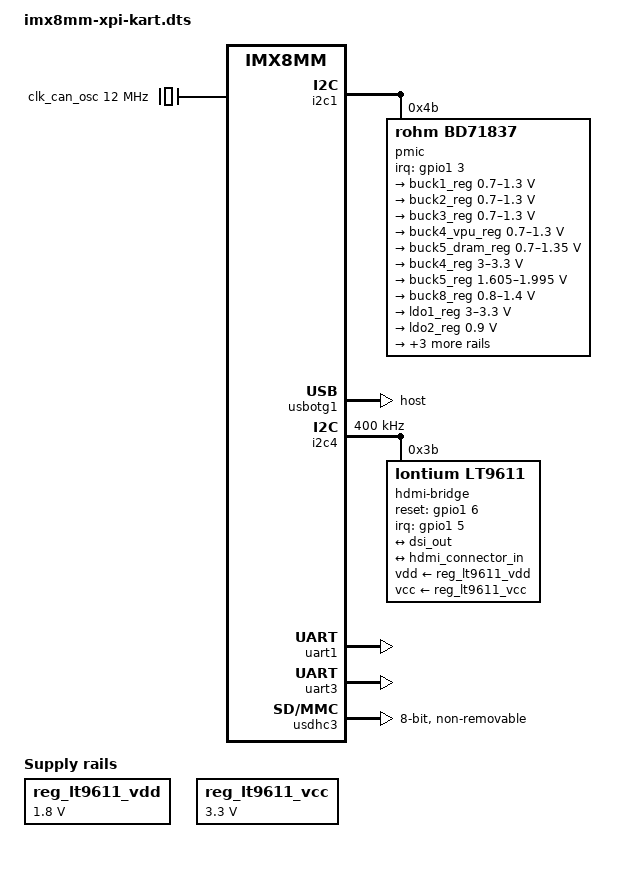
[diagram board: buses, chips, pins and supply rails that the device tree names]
// SPDX-License-Identifier: (GPL-2.0+ OR MIT)
/*
 * imx8mm-xpi-kart.dts — Geniatech XPI-iMX8MM 用 kart 製品 DT
 *
 * 根拠は全て実機/実物から採取済み:
 *  - ベンダ実行中 DT (/sys/firmware/fdt, local/vendor-dtbs/running.dts)
 *  - ベンダ 4.14 カーネルの起動ログ (lt9611: irq_gpio=5 reset_gpio=6)
 *  - HW UserGuide の 40 ピン表 (ECSPI2 = pin19-24, RPi GPIO25 相当 = PDM_DATA3)
 *
 * EVK との差分:
 *  - 表示: ADV7535 (EVK アダプタ) ではなく Lontium LT9611 (I2C4 @0x3b)。
 *    mainline の lontium,lt9611 ドライバ用に binding を書き直して移植
 *    (ベンダは独自 lt,lt9611 ドライバ)。EVK の adv7535 ノードは削除し、
 *    hdmi-connector と dsi_out を LT9611 に繋ぎ替える
 *  - CAN INT: RPi GPIO25 相当 (物理 pin22) = SAI5_RXD3 パッド = GPIO3_IO24
 *    (EVK 足場の GPIO1_IO08 は XPI では 40 ピンに出ていない)
 *  - ECSPI2 の conf 値はベンダ実績値 (SCLK/MOSI/MISO=0x140)
 *  - eMMC (usdhc3): EVK 足場と同じ NXP 由来ノード (ベンダ DT にも同構成を確認)
 *  - Ethernet PHY リセット: XPI は SAI1_RXC → GPIO4_IO1 (EVK の SAI2_RXC →
 *    GPIO4_IO22 は XPI では未配線。ベンダ BSP 監査 07 §3 で確認)
 *  - usbotg2: 実機 DTB は OTG1/OTG2 とも host で有効 (mainline evk dtsi には
 *    otg2 ノード自体が無い)。07 §3 で確認
 */

#include "imx8mm-evk.dts"
#include <dt-bindings/interrupt-controller/irq.h>

/ {
	clk_can_osc: clock-can-osc {
		compatible = "fixed-clock";
		#clock-cells = <0>;
		clock-frequency = <12000000>;
		clock-output-names = "can_osc";
	};

	reg_lt9611_vdd: regulator-lt9611-vdd {
		compatible = "regulator-fixed";
		regulator-name = "lt9611-vdd";
		regulator-min-microvolt = <1800000>;
		regulator-max-microvolt = <1800000>;
		regulator-always-on;
	};

	reg_lt9611_vcc: regulator-lt9611-vcc {
		compatible = "regulator-fixed";
		regulator-name = "lt9611-vcc";
		regulator-min-microvolt = <3300000>;
		regulator-max-microvolt = <3300000>;
		regulator-always-on;
	};
};

/* EVK の ADV7535 (アダプタカード) は XPI に存在しない。
 * なおベンダ DT はこのバスの 0x69 に AM1805 RTC を宣言しているが、
 * 実機検証でチップ無応答 = 未実装と判断し、ノード/ドライバとも入れない
 * (経緯と再有効化手順は docs/imx8mm-xpi-bringup/07-vendor-bsp-audit.md §3-3) */
&i2c2 {
	/delete-node/ hdmi@3d;
};

/*
 * PMIC は実チップが ROHM BD71837 (8 buck。ベンダ DT・実機 DTB で確認)。
 * EVK dtsi は後期 EVK の BD71847 (6 buck) として登録しており、GPU/VPU レール
 * (buck3/4) が見えず buck5 以降のレジスタマップもズレる (07 §3-4)。
 * ノードを丸ごと差し替え、電圧枠はベンダ DT の実績値を使う。
 *
 * ベンダとの意図的な差分: buck3 (VDD_GPU) / buck4 (VDD_VPU) を always-on に
 * する。mainline にはこれらを consumer として掴むドライバが居ないため
 * (etnaviv は GPC power-domain 管理で PMIC を知らない)、素のままだと
 * regulator core の「未使用レギュレータ自動停止」(起動 30s 後) が
 * GPU レールを落として weston が死ぬ。
 *
 * ラベルの継承: buck2_reg は cpu-supply (cpufreq DVS) が参照。
 * buck4_reg/buck5_reg は evk.dtsi の i2c3 配下 (XPI では disabled) が参照する
 * ため、電圧対応する BUCK6 (3.3V)/BUCK7 (1.8V) に旧名ラベルを併記して
 * phandle 解決だけ維持する。
 */
&i2c1 {
	/delete-node/ pmic@4b;

	pmic@4b {
		compatible = "rohm,bd71837";
		reg = <0x4b>;
		pinctrl-names = "default";
		pinctrl-0 = <&pinctrl_pmic>;
		interrupt-parent = <&gpio1>;
		interrupts = <3 IRQ_TYPE_LEVEL_LOW>;
		rohm,reset-snvs-powered;
		#clock-cells = <0>;
		clocks = <&osc_32k>;
		clock-output-names = "clk-32k-out";

		regulators {
			buck1_reg: BUCK1 {
				/* VDD_SOC */
				regulator-name = "buck1";
				regulator-min-microvolt = <700000>;
				regulator-max-microvolt = <1300000>;
				regulator-boot-on;
				regulator-always-on;
				regulator-ramp-delay = <1250>;
			};

			buck2_reg: BUCK2 {
				/* VDD_ARM — cpufreq DVS (run 1.0V / idle 0.9V、ベンダ実績値) */
				regulator-name = "buck2";
				regulator-min-microvolt = <700000>;
				regulator-max-microvolt = <1300000>;
				regulator-boot-on;
				regulator-always-on;
				regulator-ramp-delay = <1250>;
				rohm,dvs-run-voltage = <1000000>;
				rohm,dvs-idle-voltage = <900000>;
			};

			buck3_reg: BUCK3 {
				/* VDD_GPU — always-on は意図的 (冒頭コメント) */
				regulator-name = "buck3";
				regulator-min-microvolt = <700000>;
				regulator-max-microvolt = <1300000>;
				regulator-boot-on;
				regulator-always-on;
			};

			buck4_vpu_reg: BUCK4 {
				/* VDD_VPU — 同上 (VPU 未使用だが安全側) */
				regulator-name = "buck4";
				regulator-min-microvolt = <700000>;
				regulator-max-microvolt = <1300000>;
				regulator-boot-on;
				regulator-always-on;
			};

			buck5_dram_reg: BUCK5 {
				/* VDD_DRAM */
				regulator-name = "buck5";
				regulator-min-microvolt = <700000>;
				regulator-max-microvolt = <1350000>;
				regulator-boot-on;
				regulator-always-on;
			};

			buck4_reg: buck6_reg: BUCK6 {
				/* 3.3V 系 (旧 bd71847 名 buck4 — ラベル併記は冒頭コメント) */
				regulator-name = "buck6";
				regulator-min-microvolt = <3000000>;
				regulator-max-microvolt = <3300000>;
				regulator-boot-on;
				regulator-always-on;
			};

			buck5_reg: buck7_reg: BUCK7 {
				/* 1.8V 系 (旧 bd71847 名 buck5) */
				regulator-name = "buck7";
				regulator-min-microvolt = <1605000>;
				regulator-max-microvolt = <1995000>;
				regulator-boot-on;
				regulator-always-on;
			};

			buck8_reg: BUCK8 {
				regulator-name = "buck8";
				regulator-min-microvolt = <800000>;
				regulator-max-microvolt = <1400000>;
				regulator-boot-on;
				regulator-always-on;
			};

			ldo1_reg: LDO1 {
				/* ベンダ実績 3.0-3.3V (bd71847-EVK の 1.6V 枠とは異なる) */
				regulator-name = "ldo1";
				regulator-min-microvolt = <3000000>;
				regulator-max-microvolt = <3300000>;
				regulator-boot-on;
				regulator-always-on;
			};

			ldo2_reg: LDO2 {
				regulator-name = "ldo2";
				regulator-min-microvolt = <900000>;
				regulator-max-microvolt = <900000>;
				regulator-boot-on;
				regulator-always-on;
			};

			ldo3_reg: LDO3 {
				regulator-name = "ldo3";
				regulator-min-microvolt = <1800000>;
				regulator-max-microvolt = <3300000>;
				regulator-boot-on;
				regulator-always-on;
			};

			ldo4_reg: LDO4 {
				regulator-name = "ldo4";
				regulator-min-microvolt = <900000>;
				regulator-max-microvolt = <1800000>;
				regulator-boot-on;
				regulator-always-on;
			};

			ldo6_reg: LDO6 {
				regulator-name = "ldo6";
				regulator-min-microvolt = <900000>;
				regulator-max-microvolt = <1800000>;
				regulator-boot-on;
				regulator-always-on;
			};
			/* LDO5/LDO7 はベンダ DT でも未定義 (未使用レール) */
		};
	};
};

/*
 * ===== EVK 残骸の無効化 =====
 * XPI に存在しない EVK 周辺を全て落とす。pinctrl+GPIO が生きていると
 * これらのノードは実際に XPI の足を掴んで駆動してしまう
 * (特に reg_pcie0 は GPIO1_IO05 = XPI の LT9611 IRQ 線を Low に初期化する)。
 * phandle グラフに絡むノードは status="disabled" (参照切れコンパイルエラー
 * 回避)、絡まないノードは /delete-node/。
 */

/* PCIe: XPI に引き出されていない */
&pcie0 {
	status = "disabled";
};
&pcie_phy {
	status = "disabled";
};
/* MPCIE_3V3: gpio1 5 (XPI では LT9611 IRQ) を regulator init が Low に叩く */
&reg_pcie0 {
	status = "disabled";
};

/* USB-C PD (ptn5110) は EVK アダプタの物。XPI はベンダ DT 通り素の host */
&ptn5110 {
	status = "disabled";
};
&usbotg1 {
	dr_mode = "host";
	/* role switch は ptn5110 前提。残すと usbotg1 が永久 deferred になる */
	/delete-property/ usb-role-switch;
};

/* 2 系統目の USB (usbotg2)。実機調査 (07 §3) の結末:
 * 配下は GL850 ハブ + Marvell 88W8897 WiFi/BT メザニン (port4 固定) のみで、
 * port1-3 は未接続 = 外部ポートは存在しない。カートは WiFi/BT 不使用のため
 * 意図的に disabled (SoC dtsi のデフォルトと同じだが、経緯ごと明示する)。
 * モジュールの物理撤去は親基板パターン損傷リスクが高いためしない。
 * WiFi を使う日が来たら host で有効化 + mwifiex_usb を焚く */
&usbotg2 {
	status = "disabled";
};

/* Ethernet PHY (AR803x) のリセット線。EVK dtsi は SAI2_RXC → GPIO4_IO22 を
 * 指すが、XPI のリセット実配線は SAI1_RXC → GPIO4_IO1 (ベンダ fec1grp が
 * SAI2_RXC を外して SAI1_RXC を mux、実機 DTB でも確認。07 §3)。
 * GPIO4_IO22 は XPI では未配線パッドの空撃ちで、PHY リセットが効いていなかった */
&ethphy0 {
	reset-gpios = <&gpio4 1 GPIO_ACTIVE_LOW>;
};

/* fec1grp を丸ごと差し替え (pinctrl グループは fsl,pins の全置換でしか
 * 編集できない)。最終行以外は EVK dtsi と同一 */
&pinctrl_fec1 {
	fsl,pins = <
		MX8MM_IOMUXC_ENET_MDC_ENET1_MDC			0x3
		MX8MM_IOMUXC_ENET_MDIO_ENET1_MDIO		0x3
		MX8MM_IOMUXC_ENET_TD3_ENET1_RGMII_TD3		0x1f
		MX8MM_IOMUXC_ENET_TD2_ENET1_RGMII_TD2		0x1f
		MX8MM_IOMUXC_ENET_TD1_ENET1_RGMII_TD1		0x1f
		MX8MM_IOMUXC_ENET_TD0_ENET1_RGMII_TD0		0x1f
		MX8MM_IOMUXC_ENET_RD3_ENET1_RGMII_RD3		0x91
		MX8MM_IOMUXC_ENET_RD2_ENET1_RGMII_RD2		0x91
		MX8MM_IOMUXC_ENET_RD1_ENET1_RGMII_RD1		0x91
		MX8MM_IOMUXC_ENET_RD0_ENET1_RGMII_RD0		0x91
		MX8MM_IOMUXC_ENET_TXC_ENET1_RGMII_TXC		0x1f
		MX8MM_IOMUXC_ENET_RXC_ENET1_RGMII_RXC		0x91
		MX8MM_IOMUXC_ENET_RX_CTL_ENET1_RGMII_RX_CTL	0x91
		MX8MM_IOMUXC_ENET_TX_CTL_ENET1_RGMII_TX_CTL	0x1f
		MX8MM_IOMUXC_SAI1_RXC_GPIO4_IO1			0x19
	>;
};

/* MIPI パネル用バックライト (XPI は HDMI)。pwm1 は backlight 専用 */
&pwm1 {
	status = "disabled";
};

/* PDM マイク (EVK): pdmgrp が SAI5_RXD3 を PDM_DATA3 に mux し、
 * CAN INT (canintgrp: SAI5_RXD3 → GPIO3_IO24) とパッドを取り合う */
&micfil {
	status = "disabled";
};

/* EVK の GPIO エキスパンダ/カメラの載る i2c3 ごと不要 (XPI は i2c4=LT9611) */
&i2c3 {
	status = "disabled";
};
&csi {
	status = "disabled";
};
&mipi_csi {
	status = "disabled";
};

/delete-node/ &backlight;

/ {
	/delete-node/ leds;		/* gpio3 16 を出力 ON で掴む */
	/delete-node/ ir-receiver;	/* gpio1 13 を掴む */
};

/* GPIO3 バンクは RDC で M4 の縄張り (MCP2515 INT=IO24 / ADS8688 CS=IO21)。
 * Linux の gpio-mxc は probe 時に IMR を全クリアするため、有効なままだと
 * 「M4 (falcon 起動、Linux より先) が設定した INT 割り込みを Linux ブートが
 * 消す」— cold boot でのみ CAN 物理送受信が死ぬ (try.sh ロードでは無症状)
 * という時限バグになる (2026-08-24 実測、pitfalls #31)。Linux 側の利用者は
 * 無い (leds は上で削除済み) ので丸ごと無効化する */
&gpio3 {
	status = "disabled";
};

/* HDMI コネクタは LT9611 の出力へ */
&hdmi_connector_in {
	remote-endpoint = <&lt9611_out>;
};

/* DSIM の出力を LT9611 の DSI 入力へ。
 * 4 レーンが正式構成。LT9611 の TX/PCR は低ピクセルクロック (〜75MHz) で
 * 横揺れ・無信号になる実測特性があり、weston.ini (mx8mm override) の
 * 高クロックラスタ + 小アクティブ領域モードとセットで運用する
 * (docs/imx8mm-xpi-bringup/04-pitfalls.md #17)。
 * なお data-lanes は 0002 パッチにより可変: 低 pclk を直接受けさせたい
 * 実験では <1 2> にするとレーン当たりレートが倍になり、LT9611 の
 * MIPI RX ロック下限 (実測 280〜312Mbps/lane の間) を回避できる。
 * ただし 2 レーンでは 1080p (1782Mbps/lane) は帯域超過。 */
&dsi_out {
	remote-endpoint = <&lt9611_a>;
	data-lanes = <1 2 3 4>;
};

&i2c4 {
	clock-frequency = <400000>;
	pinctrl-names = "default";
	pinctrl-0 = <&pinctrl_i2c4>;
	status = "okay";

	hdmi-bridge@3b {
		compatible = "lontium,lt9611";
		reg = <0x3b>;
		pinctrl-names = "default";
		pinctrl-0 = <&pinctrl_lt9611>;
		interrupt-parent = <&gpio1>;
		interrupts = <5 IRQ_TYPE_EDGE_FALLING>;
		reset-gpios = <&gpio1 6 GPIO_ACTIVE_HIGH>;
		vdd-supply = <&reg_lt9611_vdd>;
		vcc-supply = <&reg_lt9611_vcc>;

		ports {
			#address-cells = <1>;
			#size-cells = <0>;

			port@0 {
				reg = <0>;
				lt9611_a: endpoint {
					remote-endpoint = <&dsi_out>;
					/* レーン数は dsi_out 側のコメント参照 */
					data-lanes = <1 2 3 4>;
				};
			};

			port@2 {
				reg = <2>;
				lt9611_out: endpoint {
					remote-endpoint = <&hdmi_connector_in>;
				};
			};
		};
	};
};

/* UART1 (ttymxc0)。「uart3 SoC RX 故障」誤診 (実際は busybox cat/dd の
 * 偽 EOF — docs/04-pitfalls #30) の回避策として追加したが、ガイド表記の
 * pin8/10 は実測不通 (UART1 全構成+パッド総当たりで検出ゼロ、実配線されて
 * いない疑い — 04-pitfalls #29)。ヘッダで使えないため削除候補 */
&uart1 {
	pinctrl-names = "default";
	pinctrl-0 = <&pinctrl_uart1>;
	/delete-property/ dmas;
	/delete-property/ dma-names;
	status = "okay";
};

&uart3 {
	pinctrl-names = "default";
	pinctrl-0 = <&pinctrl_uart3>;
	/* PIO 固定。「DMA RX 不達」は busybox cat/dd の偽 EOF による誤診で、
	 * DMA が悪い証拠は無かった (docs/04-pitfalls #30)。PIO のまま GPS NMEA
	 * 受信を実証済みで、9600bps に DMA は不要なのでこのままにする */
	/delete-property/ dmas;
	/delete-property/ dma-names;
	status = "okay";
};

&iomuxc {
	/* GPS 用 UART3 (ttymxc2、9600 8N1)。UART3_RXD/TXD 専用パッドは 40 ピン
	 * ヘッダの **pin16/18** に出ている (ガイド表記は「UART1_CTS/RTS」だが
	 * i.MX8MM のパッド多重化で交差 — docs/01-hardware.md §J62 UART、
	 * ジャンパループバック+GPS NMEA 受信で実測確定)。ガイドの「pin36/37 =
	 * UART3」は ECSPI1_SCLK/MOSI パッド (ALT1) の推定で未検証。
	 * 配線: GPS TXO→pin16 (UART3_RXD)、RXI→pin18 (UART3_TXD) */
	pinctrl_uart1: uart1grp {
		fsl,pins = <
			MX8MM_IOMUXC_UART1_RXD_UART1_DCE_RX	0x140
			MX8MM_IOMUXC_UART1_TXD_UART1_DCE_TX	0x140
		>;
	};

	pinctrl_uart3: uart3grp {
		fsl,pins = <
			MX8MM_IOMUXC_UART3_RXD_UART3_DCE_RX	0x140
			MX8MM_IOMUXC_UART3_TXD_UART3_DCE_TX	0x140
		>;
	};

	pinctrl_i2c4: i2c4grp {
		fsl,pins = <
			/* ベンダ実績 conf 0x400001c3 (open-drain 有効込み) */
			MX8MM_IOMUXC_I2C4_SCL_I2C4_SCL		0x400001c3
			MX8MM_IOMUXC_I2C4_SDA_I2C4_SDA		0x400001c3
		>;
	};

	pinctrl_lt9611: lt9611grp {
		fsl,pins = <
			/* ベンダ実績 conf 0x19 (irq=GPIO1_IO05, reset=GPIO1_IO06) */
			MX8MM_IOMUXC_GPIO1_IO05_GPIO1_IO5	0x19
			MX8MM_IOMUXC_GPIO1_IO06_GPIO1_IO6	0x19
		>;
	};

	pinctrl_ecspi2: ecspi2grp {
		fsl,pins = <
			/* ベンダ実績 conf 0x140 */
			MX8MM_IOMUXC_ECSPI2_SCLK_ECSPI2_SCLK	0x140
			MX8MM_IOMUXC_ECSPI2_MOSI_ECSPI2_MOSI	0x140
			MX8MM_IOMUXC_ECSPI2_MISO_ECSPI2_MISO	0x140
		>;
	};

	pinctrl_ecspi2_cs: ecspi2csgrp {
		fsl,pins = <
			MX8MM_IOMUXC_ECSPI2_SS0_GPIO5_IO13	0x40000
		>;
	};

	pinctrl_can_int: canintgrp {
		fsl,pins = <
			/* 物理 pin22 (RPi GPIO25 相当) = SAI5_RXD3 の GPIO モード */
			MX8MM_IOMUXC_SAI5_RXD3_GPIO3_IO24	0x140
		>;
	};

	pinctrl_usdhc3: usdhc3grp {
		fsl,pins = <
			MX8MM_IOMUXC_NAND_WE_B_USDHC3_CLK	0x190
			MX8MM_IOMUXC_NAND_WP_B_USDHC3_CMD	0x1d0
			MX8MM_IOMUXC_NAND_DATA04_USDHC3_DATA0	0x1d0
			MX8MM_IOMUXC_NAND_DATA05_USDHC3_DATA1	0x1d0
			MX8MM_IOMUXC_NAND_DATA06_USDHC3_DATA2	0x1d0
			MX8MM_IOMUXC_NAND_DATA07_USDHC3_DATA3	0x1d0
			MX8MM_IOMUXC_NAND_RE_B_USDHC3_DATA4	0x1d0
			MX8MM_IOMUXC_NAND_CE2_B_USDHC3_DATA5	0x1d0
			MX8MM_IOMUXC_NAND_CE3_B_USDHC3_DATA6	0x1d0
			MX8MM_IOMUXC_NAND_CLE_USDHC3_DATA7	0x1d0
			MX8MM_IOMUXC_NAND_CE1_B_USDHC3_STROBE	0x190
		>;
	};

	pinctrl_usdhc3_100mhz: usdhc3-100mhzgrp {
		fsl,pins = <
			MX8MM_IOMUXC_NAND_WE_B_USDHC3_CLK	0x194
			MX8MM_IOMUXC_NAND_WP_B_USDHC3_CMD	0x1d4
			MX8MM_IOMUXC_NAND_DATA04_USDHC3_DATA0	0x1d4
			MX8MM_IOMUXC_NAND_DATA05_USDHC3_DATA1	0x1d4
			MX8MM_IOMUXC_NAND_DATA06_USDHC3_DATA2	0x1d4
			MX8MM_IOMUXC_NAND_DATA07_USDHC3_DATA3	0x1d4
			MX8MM_IOMUXC_NAND_RE_B_USDHC3_DATA4	0x1d4
			MX8MM_IOMUXC_NAND_CE2_B_USDHC3_DATA5	0x1d4
			MX8MM_IOMUXC_NAND_CE3_B_USDHC3_DATA6	0x1d4
			MX8MM_IOMUXC_NAND_CLE_USDHC3_DATA7	0x1d4
			MX8MM_IOMUXC_NAND_CE1_B_USDHC3_STROBE	0x194
		>;
	};

	pinctrl_usdhc3_200mhz: usdhc3-200mhzgrp {
		fsl,pins = <
			MX8MM_IOMUXC_NAND_WE_B_USDHC3_CLK	0x196
			MX8MM_IOMUXC_NAND_WP_B_USDHC3_CMD	0x1d6
			MX8MM_IOMUXC_NAND_DATA04_USDHC3_DATA0	0x1d6
			MX8MM_IOMUXC_NAND_DATA05_USDHC3_DATA1	0x1d6
			MX8MM_IOMUXC_NAND_DATA06_USDHC3_DATA2	0x1d6
			MX8MM_IOMUXC_NAND_DATA07_USDHC3_DATA3	0x1d6
			MX8MM_IOMUXC_NAND_RE_B_USDHC3_DATA4	0x1d6
			MX8MM_IOMUXC_NAND_CE2_B_USDHC3_DATA5	0x1d6
			MX8MM_IOMUXC_NAND_CE3_B_USDHC3_DATA6	0x1d6
			MX8MM_IOMUXC_NAND_CLE_USDHC3_DATA7	0x1d6
			MX8MM_IOMUXC_NAND_CE1_B_USDHC3_STROBE	0x196
		>;
	};
};

/* ECSPI2 + MCP2515 は Cortex-M4 (can-gw ファーム) に譲渡した。Linux から
 * は rpmsg 経由の CAN netdev (kart-rpmsg-can) として見える。M4 側の
 * pinmux/CS/INT 設定は Zephyr overlay (data-logger-zephyr の apps/can-gw)
 * が自前で行うため、Linux 側は完全に disabled でよい。
 * クロックの取り決め:
 *  - root gate (TARGET_ROOT) は cmdline clk-imx8mm.mcore_booted=1 で
 *    Linux が止めなくなる (clk-composite-8m の gate ops 差し替え)
 *  - CCGR (0x30384080) は M4 起動フローが domain1 always-on (0xC) を
 *    立てる (Linux clk は bits[1:0] しか触らないため保持される)
 * 旧 Linux 直結構成 (can0 = spi-imx + mcp251x、PIO 固定の経緯含む) は
 * git 履歴参照 */
&ecspi2 {
	status = "disabled";
};

/* XPI 実機の eMMC (Samsung 8GB)。/dev/mmcblk2 で見える。 */
&usdhc3 {
	assigned-clocks = <&clk IMX8MM_CLK_USDHC3_ROOT>;
	assigned-clock-rates = <400000000>;
	pinctrl-names = "default", "state_100mhz", "state_200mhz";
	pinctrl-0 = <&pinctrl_usdhc3>;
	pinctrl-1 = <&pinctrl_usdhc3_100mhz>;
	pinctrl-2 = <&pinctrl_usdhc3_200mhz>;
	bus-width = <8>;
	non-removable;
	status = "okay";
};

/* ------------------------------------------------------------------ */
/* Cortex-M4 (remoteproc)                                              */
/*                                                                     */
/* /sys/class/remoteproc/remoteproc0 から M4 ファーム (.elf) を起動する */
/* ための配線。fsl,imx8mm-cm4 は SMC メソッド = ATF SIP 経由で起動する  */
/* (A53 userspace からの SRC 生叩きでは M4 は起動しない — 実機確認済)。 */
/* ノードがあるだけでは何も走らない (auto-boot なし、明示 start 待ち)。 */
/* 共有メモリ配置はベンダ BSP (NXP imx8mm-evk-rpmsg.dts) の実績値。     */
/* mem=2042M (splash) でも 0xb85 万台は可視域内 (< 0xBFA00000)。        */
/* M4 コンソールは UART4 = J64 (RDC で M4 ドメイン割当済み、A53 不可視)。*/
/* ------------------------------------------------------------------ */
/ {
	reserved-memory {
		#address-cells = <2>;
		#size-cells = <2>;
		ranges;

		vdev0vring0: vdev0vring0@b8000000 {
			reg = <0 0xb8000000 0 0x8000>;
			no-map;
		};

		vdev0vring1: vdev0vring1@b8008000 {
			reg = <0 0xb8008000 0 0x8000>;
			no-map;
		};

		rsc_table: rsc-table@b80ff000 {
			reg = <0 0xb80ff000 0 0x1000>;
			no-map;
		};

		vdevbuffer: vdevbuffer@b8400000 {
			compatible = "shared-dma-pool";
			reg = <0 0xb8400000 0 0x100000>;
			no-map;
		};
	};

	imx8mm-cm4 {
		compatible = "fsl,imx8mm-cm4";
		clocks = <&clk IMX8MM_CLK_M4_DIV>;
		mbox-names = "tx", "rx", "rxdb";
		mboxes = <&mu 0 1
			  &mu 1 1
			  &mu 3 1>;
		memory-region = <&vdevbuffer>, <&vdev0vring0>, <&vdev0vring1>, <&rsc_table>;
		syscon = <&src>;
	};
};
